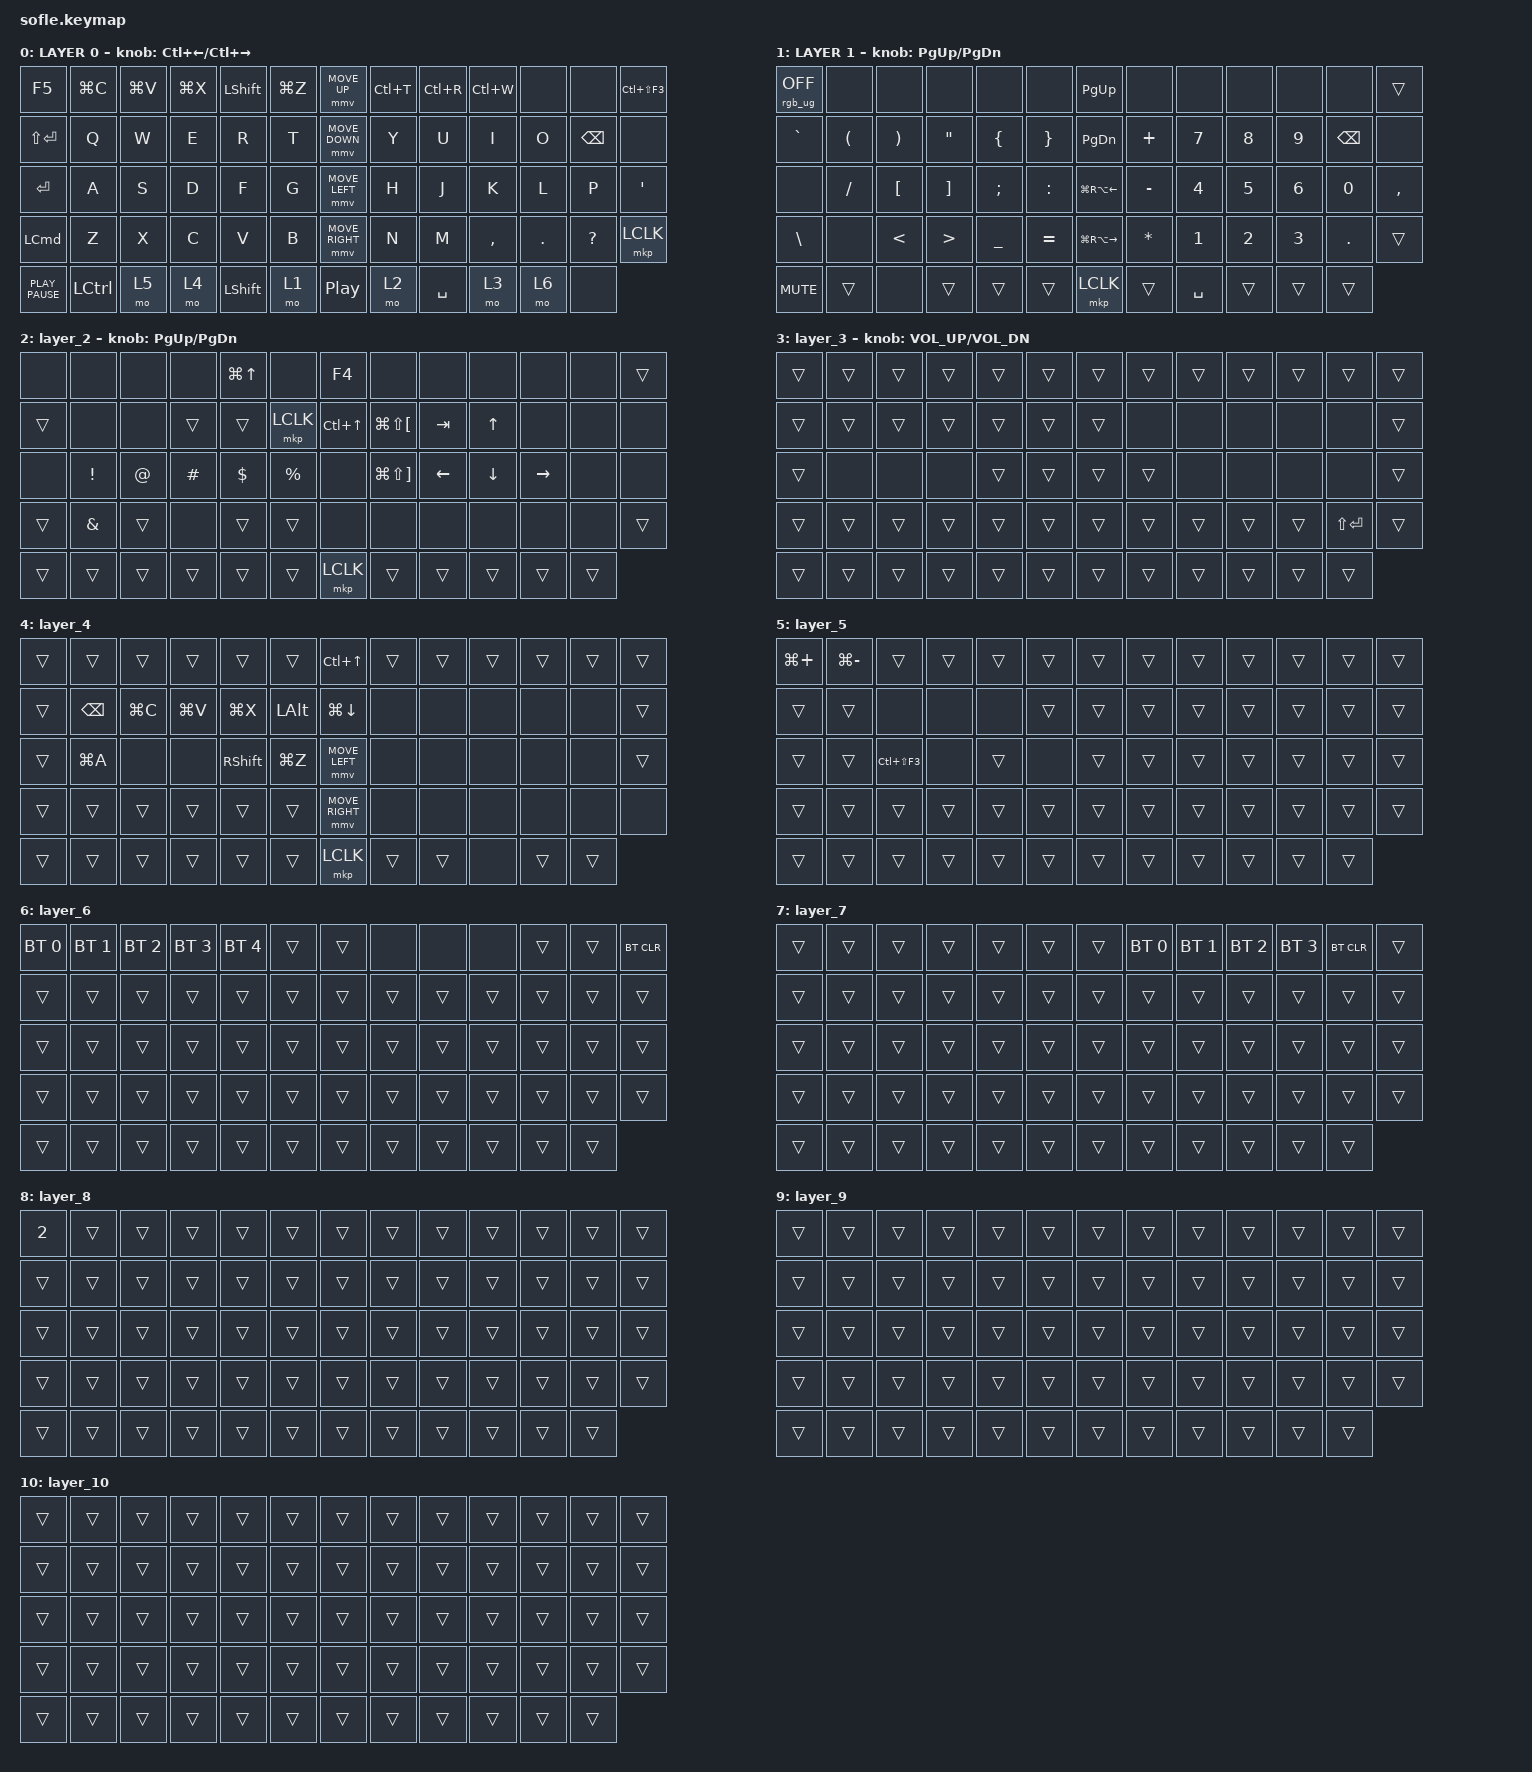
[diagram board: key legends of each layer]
#include <behaviors/mouse_keys.dtsi>
#include <dt-bindings/zmk/mouse.h>
#include <behaviors.dtsi>
#include <dt-bindings/zmk/bt.h>
#include <dt-bindings/zmk/keys.h>
#include <dt-bindings/zmk/pointing.h>
#include <dt-bindings/zmk/pointing.h>
#include <dt-bindings/zmk/pointing.h>
#include <dt-bindings/zmk/rgb.h>

#define ZMK_MOUSE_DEFAULT_MOVE_VAL 1200  // 600
#define ZMK_MOUSE_DEFAULT_SCRL_VAL 20    // 10
#define U_MS_U &mmv MOVE_UP
#define U_MS_D &mmv MOVE_DOWN
#define U_MS_L &mmv MOVE_LEFT
#define U_MS_R &mmv MOVE_RIGHT
#define ZMK_MOUSE_DEFAULT_MOVE_VAL 1200  //  600
#define ZMK_MOUSE_DEFAULT_SCRL_VAL 20    // 10

/ {
    behaviors {
        mmv {
            acceleration-exponent = <1>;      // 1
            time-to-max-speed-ms = <900>;    // 40
            delay-ms = <0>;                   // 0
        };

        msc {
            acceleration-exponent = <1>;      // 0
            time-to-max-speed-ms = <400>;      // 500
            delay-ms = <0>;                   //   10
        };
    };

    scroll_encoder: scroll_encoder {
        compatible = "zmk,behavior-sensor-rotate";
        #sensor-binding-cells = <0>;
        bindings = <&msc SCRL_DOWN>, <&msc SCRL_UP>;

        tap-ms = <30>;
    };

    keymap {
        compatible = "zmk,keymap";

        layer0 {
            bindings = <
&kp F5            &kp LG(C)  &kp LG(V)  &kp LG(X)  &kp LEFT_SHIFT  &kp LG(Z)    &mmv MOVE_UP      &kp LC(T)  &kp LC(R)  &kp LC(W)  &none    &none          &kp LC(LS(F3))
&kp LS(ENTER)     &kp Q      &kp W      &kp E      &kp R           &kp T        &mmv MOVE_DOWN    &kp Y      &kp U      &kp I      &kp O    &kp BACKSPACE  &none
&kp ENTER         &kp A      &kp S      &kp D      &kp F           &kp G        &mmv MOVE_LEFT    &kp H      &kp J      &kp K      &kp L    &kp P          &kp SQT
&kp LEFT_COMMAND  &kp Z      &kp X      &kp C      &kp V           &kp B        &mmv MOVE_RIGHT   &kp N      &kp M      &kp COMMA  &kp DOT  &kp QMARK      &mkp LCLK
&kp K_PLAY_PAUSE  &kp LCTRL  &mo 5      &mo 4      &kp LEFT_SHIFT  &mo 1        &kp C_PLAY_PAUSE  &mo 2      &kp SPACE  &mo 3      &mo 6    &none
            >;

            sensor-bindings = <&inc_dec_kp LC(LEFT_ARROW) LC(RIGHT)>;
            display-name = "LAYER 0";
        };

        layer_1 {
            bindings = <
&rgb_ug RGB_OFF  &none                 &none                  &none              &none           &none              &kp PAGE_UP        &none         &none      &none   &none   &none     &trans
&kp GRAVE        &kp LEFT_PARENTHESIS  &kp RIGHT_PARENTHESIS  &kp DOUBLE_QUOTES  &kp LEFT_BRACE  &kp RIGHT_BRACE    &kp PAGE_DOWN      &kp PLUS      &kp N7     &kp N8  &kp N9  &kp BSPC  &none
&none            &kp SLASH             &kp LBKT               &kp RBKT           &kp SEMI        &kp COLON          &kp LG(RA(LEFT))   &kp MINUS     &kp N4     &kp N5  &kp N6  &kp N0    &kp COMMA
&kp BSLH         &none                 &kp LESS_THAN          &kp GREATER_THAN   &kp UNDERSCORE  &kp EQUAL          &kp LG(RA(RIGHT))  &kp ASTERISK  &kp N1     &kp N2  &kp N3  &kp DOT   &trans
&kp C_MUTE       &trans                &none                  &trans             &trans          &trans             &mkp LCLK          &trans        &kp SPACE  &trans  &trans  &trans
            >;

            display-name = "LAYER 1";
            sensor-bindings = <&inc_dec_kp PG_UP PAGE_DOWN>;
        };

        layer_2 {
            bindings = <
&none   &none            &none        &none     &kp LG(UP_ARROW)  &none          &kp F4            &none                      &none           &none           &none      &none   &trans
&trans  &none            &none        &trans    &trans            &mkp LCLK      &kp LC(UP_ARROW)  &kp LG(LS(LEFT_BRACKET))   &kp TAB         &kp UP_ARROW    &none      &none   &none
&none   &kp EXCLAMATION  &kp AT_SIGN  &kp HASH  &kp DOLLAR        &kp PERCENT    &none             &kp LG(LS(RIGHT_BRACKET))  &kp LEFT_ARROW  &kp DOWN_ARROW  &kp RIGHT  &none   &none
&trans  &kp AMPERSAND    &trans       &none     &trans            &trans         &none             &none                      &none           &none           &none      &none   &trans
&trans  &trans           &trans       &trans    &trans            &trans         &mkp LCLK         &trans                     &trans          &trans          &trans     &trans
            >;

            sensor-bindings = <&inc_dec_kp PG_UP PAGE_DOWN>;
        };

        layer_3 {
            bindings = <
&trans  &trans  &trans  &trans  &trans  &trans    &trans  &trans  &trans  &trans  &trans  &trans         &trans
&trans  &trans  &trans  &trans  &trans  &trans    &trans  &none   &none   &none   &none   &none          &trans
&trans  &none   &none   &none   &trans  &trans    &trans  &trans  &none   &none   &none   &none          &trans
&trans  &trans  &trans  &trans  &trans  &trans    &trans  &trans  &trans  &trans  &trans  &kp LS(ENTER)  &trans
&trans  &trans  &trans  &trans  &trans  &trans    &trans  &trans  &trans  &trans  &trans  &trans
            >;

            sensor-bindings = <&inc_dec_kp C_VOL_UP C_VOL_DN>;
        };

        layer_4 {
            bindings = <
&trans  &trans         &trans     &trans     &trans           &trans          &kp LC(UP_ARROW)    &trans  &trans  &trans  &trans  &trans  &trans
&trans  &kp BACKSPACE  &kp LG(C)  &kp LG(V)  &kp LG(X)        &kp LEFT_ALT    &kp LG(DOWN_ARROW)  &none   &none   &none   &none   &none   &trans
&trans  &kp LG(A)      &none      &none      &kp RIGHT_SHIFT  &kp LG(Z)       &mmv MOVE_LEFT      &none   &none   &none   &none   &none   &trans
&trans  &trans         &trans     &trans     &trans           &trans          &mmv MOVE_RIGHT     &none   &none   &none   &none   &none   &none
&trans  &trans         &trans     &trans     &trans           &trans          &mkp LCLK           &trans  &trans  &none   &trans  &trans
            >;
        };

        layer_5 {
            bindings = <
&kp LG(PLUS)  &kp LG(MINUS)  &trans          &trans  &trans  &trans    &trans  &trans  &trans  &trans  &trans  &trans  &trans
&trans        &trans         &none           &none   &none   &trans    &trans  &trans  &trans  &trans  &trans  &trans  &trans
&trans        &trans         &kp LC(LS(F3))  &none   &trans  &none     &trans  &trans  &trans  &trans  &trans  &trans  &trans
&trans        &trans         &trans          &trans  &trans  &trans    &trans  &trans  &trans  &trans  &trans  &trans  &trans
&trans        &trans         &trans          &trans  &trans  &trans    &trans  &trans  &trans  &trans  &trans  &trans
            >;
        };

        layer_6 {
            bindings = <
&bt BT_SEL 0  &bt BT_SEL 1  &bt BT_SEL 2  &bt BT_SEL 3  &bt BT_SEL 4  &trans    &trans  &none   &none   &none   &trans  &trans  &bt BT_CLR
&trans        &trans        &trans        &trans        &trans        &trans    &trans  &trans  &trans  &trans  &trans  &trans  &trans
&trans        &trans        &trans        &trans        &trans        &trans    &trans  &trans  &trans  &trans  &trans  &trans  &trans
&trans        &trans        &trans        &trans        &trans        &trans    &trans  &trans  &trans  &trans  &trans  &trans  &trans
&trans        &trans        &trans        &trans        &trans        &trans    &trans  &trans  &trans  &trans  &trans  &trans
            >;
        };

        layer_7 {
            bindings = <
&trans  &trans  &trans  &trans  &trans  &trans    &trans  &bt BT_SEL 0  &bt BT_SEL 1  &bt BT_SEL 2  &bt BT_SEL 3  &bt BT_CLR  &trans
&trans  &trans  &trans  &trans  &trans  &trans    &trans  &trans        &trans        &trans        &trans        &trans      &trans
&trans  &trans  &trans  &trans  &trans  &trans    &trans  &trans        &trans        &trans        &trans        &trans      &trans
&trans  &trans  &trans  &trans  &trans  &trans    &trans  &trans        &trans        &trans        &trans        &trans      &trans
&trans  &trans  &trans  &trans  &trans  &trans    &trans  &trans        &trans        &trans        &trans        &trans
            >;
        };

        layer_8 {
            bindings = <
&kp N2  &trans  &trans  &trans  &trans  &trans    &trans  &trans  &trans  &trans  &trans  &trans  &trans
&trans  &trans  &trans  &trans  &trans  &trans    &trans  &trans  &trans  &trans  &trans  &trans  &trans
&trans  &trans  &trans  &trans  &trans  &trans    &trans  &trans  &trans  &trans  &trans  &trans  &trans
&trans  &trans  &trans  &trans  &trans  &trans    &trans  &trans  &trans  &trans  &trans  &trans  &trans
&trans  &trans  &trans  &trans  &trans  &trans    &trans  &trans  &trans  &trans  &trans  &trans
            >;
        };

        layer_9 {
            bindings = <
&trans  &trans  &trans  &trans  &trans  &trans    &trans  &trans  &trans  &trans  &trans  &trans  &trans
&trans  &trans  &trans  &trans  &trans  &trans    &trans  &trans  &trans  &trans  &trans  &trans  &trans
&trans  &trans  &trans  &trans  &trans  &trans    &trans  &trans  &trans  &trans  &trans  &trans  &trans
&trans  &trans  &trans  &trans  &trans  &trans    &trans  &trans  &trans  &trans  &trans  &trans  &trans
&trans  &trans  &trans  &trans  &trans  &trans    &trans  &trans  &trans  &trans  &trans  &trans
            >;
        };

        layer_10 {
            bindings = <
&trans  &trans  &trans  &trans  &trans  &trans    &trans  &trans  &trans  &trans  &trans  &trans  &trans
&trans  &trans  &trans  &trans  &trans  &trans    &trans  &trans  &trans  &trans  &trans  &trans  &trans
&trans  &trans  &trans  &trans  &trans  &trans    &trans  &trans  &trans  &trans  &trans  &trans  &trans
&trans  &trans  &trans  &trans  &trans  &trans    &trans  &trans  &trans  &trans  &trans  &trans  &trans
&trans  &trans  &trans  &trans  &trans  &trans    &trans  &trans  &trans  &trans  &trans  &trans
            >;
        };
    };
};
